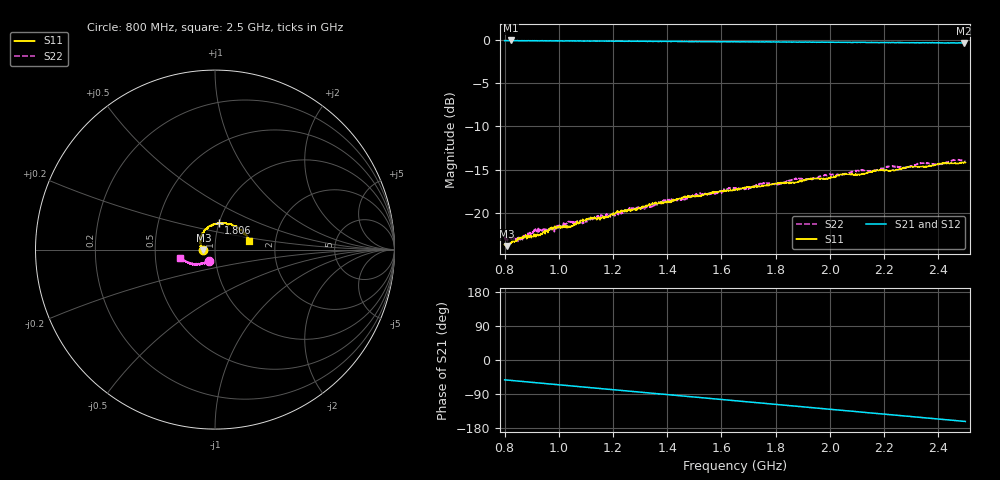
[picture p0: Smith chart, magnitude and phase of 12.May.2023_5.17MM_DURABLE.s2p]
!Keysight Technologies N9950B: A.12.38
!Date: Friday, 12 May 2023 13:44:07
!Timezone: (UTC-06:00) Central Time (US & Canada)
!Model: N9950B
!Serial: MY61131330
!GPS Latitude:
!GPS Longitude:
!GPS TimeStamp: 0001-01-01 00:00:00Z
!GPS Seconds Since Last Read: 0
!CHECKSUM:0984683965
!Correction: S11(ON U)S21(ON U)S12(ON U)S22(ON U)
!S2P File: Measurements:S11,S21,S12,S22:
# Hz S DB R 50
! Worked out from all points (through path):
!   1001 points, 800 MHz to 2.5 GHz, reference 50 ohm
!   highest |S21| = -0.10 dB at 822.1 MHz (marker M1); lowest = -0.4 dB at 2.495 GHz (marker M2)
!   group delay of S21, straight-line fit = 179 ps
!   lowest |S11| = -23.8 dB at 808.5 MHz (marker M3), VSWR 1.14, Z = 43.9 - j0.284 ohm
!   |S11| at or under -10 dB: start of sweep to end of sweep
!   |S22| runs from -23.2 to -13.8 dB; largest |S21 - S12| = 0.006
!   S11 on the Smith chart (normalised r, x): 800 MHz: 0.88, -0.00; 1.806 GHz: 1.00, +0.30; 2.5 GHz: 1.46, +0.15
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8e8  -23.59 -178.6  -0.12 -52.3  -0.13 -52.4  -22.97 -116.3
8.085e8  -23.78 -177.1  -0.12 -53.0  -0.13 -53.0  -22.98 -114.4
8.221e8  -23.44 -178.4  -0.10 -53.8  -0.13 -53.8  -22.79 -114.9
8.578e8  -22.80 -179.8  -0.12 -56.1  -0.14 -56.1  -23.04 -118.2
9.156e8  -22.68 168.6  -0.13 -59.9  -0.16 -59.9  -21.94 -119.9
9.785e8  -21.78 165.6  -0.15 -64.0  -0.16 -64.0  -22.07 -121.2
1.0414e9  -21.53 158.9  -0.15 -68.0  -0.16 -68.1  -20.97 -123.0
1.0839e9  -20.78 156.2  -0.17 -70.8  -0.18 -70.9  -20.93 -124.2
1.2335e9  -19.67 139.3  -0.18 -80.6  -0.21 -80.5  -19.88 -132.3
1.2607e9  -19.67 135.8  -0.18 -82.3  -0.19 -82.2  -19.35 -132.2
1.3678e9  -18.79 125.4  -0.21 -89.2  -0.22 -89.1  -18.70 -137.1
1.65e9  -17.29 97.5  -0.23 -107.4  -0.26 -107.4  -17.07 -142.4
1.6942e9  -16.99 93.0  -0.25 -110.4  -0.28 -110.3  -17.09 -144.2
1.7622e9  -16.79 85.1  -0.26 -114.7  -0.27 -114.7  -16.55 -146.0
1.8064e9  -16.54 81.9  -0.29 -117.5  -0.27 -117.4  -16.67 -148.2
1.8744e9  -16.40 74.0  -0.28 -122.0  -0.30 -121.8  -15.95 -150.2
1.9339e9  -16.10 69.3  -0.30 -125.6  -0.32 -125.7  -16.12 -152.2
2.2178e9  -15.15 40.8  -0.35 -144.0  -0.36 -144.0  -14.59 -160.3
2.2807e9  -14.69 35.2  -0.35 -148.0  -0.37 -148.1  -14.70 -161.3
2.3385e9  -14.62 29.0  -0.37 -151.8  -0.37 -151.8  -14.22 -163.6
2.4949e9  -14.22 14.8  -0.40 -162.0  -0.41 -161.9  -13.95 -166.5
2.5e9  -14.15 14.3  -0.39 -162.2  -0.39 -162.2  -14.02 -166.5
